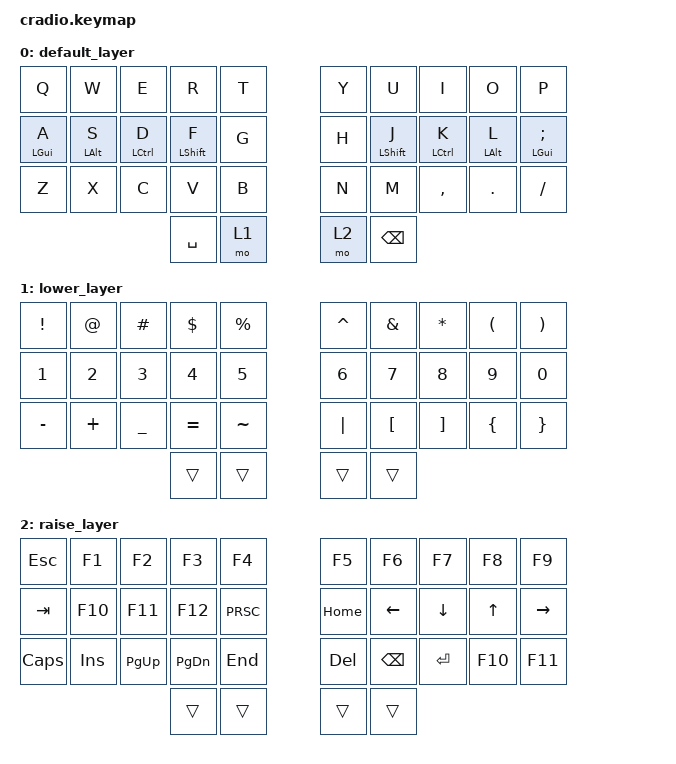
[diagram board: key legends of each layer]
#include <behaviors.dtsi>
#include <dt-bindings/zmk/keys.h>
#include <dt-bindings/zmk/bt.h>

/ {
    behaviors {
        hm: homerow_mods {
            compatible = "zmk,behavior-hold-tap";
            label = "HOMEROW_MODS";
            #binding-cells = <2>;
            tapping-term-ms = <200>;
            quick-tap-ms = <100>;
            flavor = "tap-preferred";
            bindings = <&kp>, <&kp>;
        };
    };

    keymap {
        compatible = "zmk,keymap";

        default_layer {
            bindings = <
                &kp Q        &kp W        &kp E        &kp R        &kp T          &kp Y        &kp U        &kp I        &kp O        &kp P
                &hm LGUI A   &hm LALT S   &hm LCTRL D  &hm LSHFT F  &kp G          &kp H        &hm LSHFT J  &hm LCTRL K  &hm LALT L   &hm LGUI SEMI
                &kp Z        &kp X        &kp C        &kp V        &kp B          &kp N        &kp M        &kp COMMA    &kp DOT      &kp SLASH
                                                     &kp SPACE    &mo 1          &mo 2        &kp BSPC
            >;
        };

        lower_layer {
            bindings = <
                &kp EXCL     &kp AT       &kp HASH     &kp DOLLAR   &kp PRCNT      &kp CARET    &kp AMPS     &kp STAR     &kp LPAR     &kp RPAR
                &kp N1       &kp N2       &kp N3       &kp N4       &kp N5         &kp N6       &kp N7       &kp N8       &kp N9       &kp N0
                &kp MINUS    &kp PLUS     &kp UNDER    &kp EQUAL    &kp TILDE      &kp PIPE     &kp LBKT     &kp RBKT     &kp LBRC     &kp RBRC
                                                     &trans       &trans         &trans       &trans
            >;
        };

        raise_layer {
            bindings = <
                &kp ESC      &kp F1       &kp F2       &kp F3       &kp F4         &kp F5       &kp F6       &kp F7       &kp F8       &kp F9
                &kp TAB      &kp F10      &kp F11      &kp F12      &kp PRSC       &kp HOME     &kp LEFT     &kp DOWN     &kp UP       &kp RIGHT
                &kp CAPS     &kp INS      &kp PG_UP    &kp PG_DN    &kp END        &kp DEL      &kp BSPC     &kp ENTER    &kp F10      &kp F11
                                                     &trans       &trans         &trans       &trans
            >;
        };
    };
};
